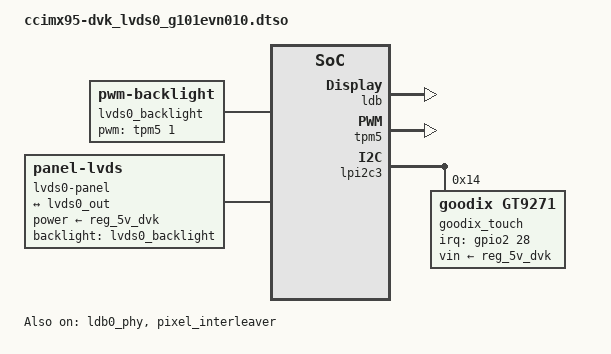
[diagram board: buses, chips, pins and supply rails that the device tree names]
// SPDX-License-Identifier: (GPL-2.0+ OR MIT)
/*
 * Copyright 2025 Digi International Inc.
 */

/dts-v1/;
/plugin/;

#include <dt-bindings/clock/fsl,imx95-clock.h>
#include <dt-bindings/gpio/gpio.h>
#include <dt-bindings/interrupt-controller/irq.h>
#include "../freescale/imx95-pinfunc.h"

/ {
	fragment@0 {
		target-path = "/";
		__overlay__ {
			overlay-description = "DVK: AUO G101EVN01.1 display on LVDS0";

			lvds0_backlight: lvds0-backlight {
				compatible = "pwm-backlight";
				pinctrl-names = "default";
				pinctrl-0 = <&pinctrl_lvds0_backlight>;
				pwms = <&tpm5 1 50000 0>;
				brightness-levels = <0 20 25 30 35 40 100>;
				default-brightness-level = <6>;
				status = "okay";
			};

			lvds0-panel {
				compatible = "panel-lvds";
				backlight = <&lvds0_backlight>;
				power-supply = <&reg_5v_dvk>;
				data-mapping = "jeida-24";
				de-high;
				width-mm = <216>;
				height-mm = <135>;
				status = "okay";

				/* AUO G101EVN01.0 */
				panel-timing {
					clock-frequency = <68930000>;
					hactive = <1280>;
					vactive = <800>;
					hfront-porch = <120>;
					hback-porch = <2>;
					hsync-len = <8>;
					vback-porch = <10>;
					vfront-porch = <2>;
					vsync-len = <6>;
					hsync-active = <1>;
					vsync-active = <1>;
				};

				port {
					panel_lvds0_in: endpoint {
						remote-endpoint = <&lvds0_out>;
					};
				};
			};
		};
	};

	/* Disable the HDMI bridge */
	fragment@1 {
		target = <&lt_bridge>;
		__overlay__ {
			status = "disabled";
		};
	};

	/* Disable MIPI DSI phy */
	fragment@2 {
		target = <&mipi_dsi>;
		__overlay__ {
			status = "disabled";
		};
	};

	/* Disable HDMI connector */
	fragment@3 {
		target = <&hdmi_connector>;
		__overlay__ {
			status = "disabled";
		};
	};

	/* Enable the LVDS bridge */
	fragment@4 {
		target = <&ldb>;
		__overlay__ {
			assigned-clocks = <&scmi_clk IMX95_CLK_LDBPLL>;
			assigned-clock-rates = <482549760>;
			#address-cells = <1>;
			#size-cells = <0>;
			status = "okay";

			channel@0 {
				#address-cells = <1>;
				#size-cells = <0>;
				reg = <0>;
				status = "okay";

				port@1 {
					reg = <1>;

					lvds0_out: endpoint {
						remote-endpoint = <&panel_lvds0_in>;
					};
				};
			};
		};
	};

	/* Enable the LVDS phy */
	fragment@5 {
		target = <&ldb0_phy>;
		__overlay__ {
			status = "okay";
		};
	};

	/* Enable channel0 of pixel-interleaver */
	fragment@6 {
		target = <&pixel_interleaver>;
		__overlay__ {
			#address-cells = <1>;
			#size-cells = <0>;
			status = "okay";

			channel@0 {
				reg = <0>;
				status = "okay";
			};
		};
	};

	/* Enable the LVDS backlight PWM */
	fragment@7 {
		target = <&tpm5>;
		__overlay__ {
			status = "okay";
		};
	};

	/* Enable goodix_touch */
	fragment@8 {
		target = <&lpi2c3>;
		__overlay__ {
			#address-cells = <1>;
			#size-cells = <0>;

			goodix_touch: gt9271@14 {
				compatible = "goodix,gt9271";
				reg = <0x14>;
				pinctrl-names = "default";
				pinctrl-0 = <&pinctrl_lvds0_touch>;
				/* LVDS interrupt */
				interrupt-parent = <&gpio2>;
				interrupts = <28 IRQ_TYPE_EDGE_FALLING>;
				irq-gpios = <&gpio2 28 GPIO_ACTIVE_HIGH>;
				reload-fw-on-resume;
				skip-firmware-request;
				vin-supply = <&reg_5v_dvk>;
				status = "okay";
			};
		};
	};

	/* pinctrl */
	fragment@9 {
		target = <&scmi_iomuxc>;
		__overlay__ {
			/* Backlight */
			pinctrl_lvds0_backlight: lvds0backlightgrp {
				fsl,pins = <
					IMX95_PAD_GPIO_IO22__TPM5_CH1		0x51e
				>;
			};

			/* Touch interrupt */
			pinctrl_lvds0_touch: lvds0touchgrp {
				fsl,pins = <
					IMX95_PAD_GPIO_IO28__GPIO2_IO_BIT28	0x51e
				>;
			};
		};
	};
};
